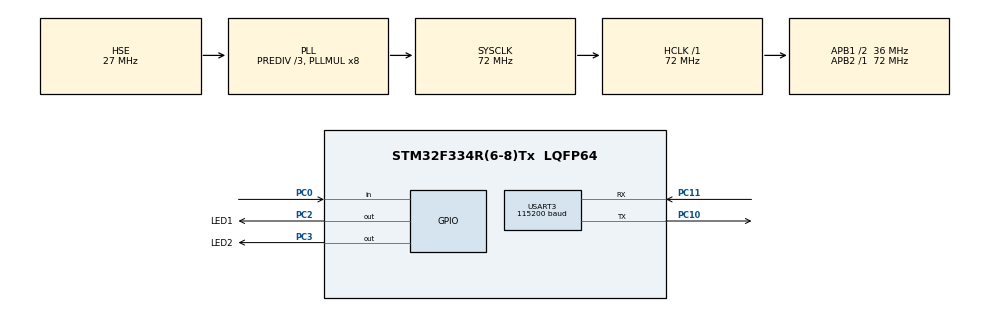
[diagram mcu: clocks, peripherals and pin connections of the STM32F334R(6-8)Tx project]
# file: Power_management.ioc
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Mcu.Family=STM32F3
Mcu.Name=STM32F334R(6-8)Tx
Mcu.Package=LQFP64
NVIC.PriorityGroup=NVIC_PRIORITYGROUP_4
NVIC.USART3_IRQn=true\:0\:0\:false\:false\:true\:true\:true\:true
PA13.Mode=Serial_Wire
PA13.Signal=SYS_JTMS-SWDIO
PA14.Mode=Serial_Wire
PA14.Signal=SYS_JTCK-SWCLK
PC0.Signal=GPIO_Input
PC10.Mode=Asynchronous
PC10.Signal=USART3_TX
PC11.Mode=Asynchronous
PC11.Signal=USART3_RX
PC2.GPIO_Label=LED1
PC2.Signal=GPIO_Output
PC3.GPIO_Label=LED2
PC3.Signal=GPIO_Output
PF0\ /\ OSC_IN.Mode=HSE-External-Clock-Source
PF0\ /\ OSC_IN.Signal=RCC_OSC_IN
ProjectManager.HeapSize=0x200
ProjectManager.StackSize=0x400
ProjectManager.TargetToolchain=MDK-ARM V5.32
RCC.AHBFreq_Value=72000000
RCC.APB1CLKDivider=RCC_HCLK_DIV2
RCC.APB1Freq_Value=36000000
RCC.APB1TimFreq_Value=72000000
RCC.APB2Freq_Value=72000000
RCC.APB2TimFreq_Value=72000000
RCC.CortexFreq_Value=72000000
RCC.HCLKFreq_Value=72000000
RCC.HSE_VALUE=27000000
RCC.HSI_VALUE=8000000
RCC.LSE_VALUE=32768
RCC.PLLMUL=RCC_PLL_MUL8
RCC.PLLSourceVirtual=RCC_PLLSOURCE_HSE
RCC.RCC_PLLsource_Clock_Source_FROM_HSE=RCC_HSE_PREDIV_DIV3
RCC.SYSCLKFreq_VALUE=72000000
RCC.SYSCLKSourceVirtual=RCC_SYSCLKSOURCE_PLLCLK
USART3.BaudRate=115200
USART3.VirtualMode-Asynchronous=VM_ASYNC
board=custom

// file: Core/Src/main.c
/* USER CODE BEGIN Header */
/**
  ******************************************************************************
  * @file           : main.c
  * @brief          : Main program body
  ******************************************************************************
  * @attention
  *
  * Copyright (c) 2025 STMicroelectronics.
  * All rights reserved.
  *
  * This software is licensed under terms that can be found in the LICENSE file
  * in the root directory of this software component.
  * If no LICENSE file comes with this software, it is provided AS-IS.
  *
  ******************************************************************************
  */
/* USER CODE END Header */
#include "main.h"
#include "usart.h"
#include "gpio.h"

/* USER CODE BEGIN Includes */
#include "buckboost.h"
#include "OLED_SSD1306.h"
#include "Reg_i2c.h"
#include "ADC_Reg.h"
#include "TIM_Reg.h"
#include "stdio.h"
#include "string.h"
/* USER CODE END Includes */

void SystemClock_Config(void);

/* USER CODE BEGIN 0 */
extern uint16_t adc1_value[4];
extern uint8_t rx_byte;
extern float temp_vol,temp_curr;
extern uint16_t adctest;
/* USER CODE END 0 */

int main(void)
{

  /* MCU Configuration--------------------------------------------------------*/

  /* Reset of all peripherals, Initializes the Flash interface and the Systick. */
  HAL_Init();

  /* Configure the system clock */
  SystemClock_Config();

  /* Initialize all configured peripherals */
  MX_GPIO_Init();
  MX_USART3_UART_Init();
  /* USER CODE BEGIN 2 */
	HAL_UART_Receive_IT(&huart3, &rx_byte, 1);

	ADC1_DMA_Init();
	ADC2_DMA_Init();

	dr_pwm_init(100);
	buckboost_init();
	I2C1_Init();
	//temp ++;
	HAL_Delay(50);
//	HAL_ADCEx_Calibration_Start(&hadc1,ADC_SINGLE_ENDED);
//	HAL_ADCEx_Calibration_Start(&hadc2,ADC_SINGLE_ENDED);
//
//	HAL_ADC_Start_DMA(&hadc1,(uint32_t*)adc1_in_buff,4);
//	HAL_ADC_Start_DMA(&hadc2,(uint32_t*)adc2_in_buff,1);

	//HAL_HRTIM_WaveformOutputStart(&hhrtim1, HRTIM_OUTPUT_TB1 | HRTIM_OUTPUT_TB2 | HRTIM_OUTPUT_TA1 | HRTIM_OUTPUT_TA2);
    //HAL_HRTIM_WaveformCounterStart(&hhrtim1, HRTIM_TIMERID_TIMER_B | HRTIM_TIMERID_TIMER_A | HRTIM_TIMERID_MASTER);

	/*start the master ,a and b timer*/
	HRTIM1->sMasterRegs.MCR   |= 0x01UL << 16; //HRTIM_MASTER
  HRTIM1->sMasterRegs.MCR   |= 0x01UL << 17; //HRTIM_TIMR_a
  HRTIM1->sMasterRegs.MCR   |= 0x01UL << 18; //HRTIM_TIMR_b

	/*enable the timer output on pins*/
	HRTIM1->sCommonRegs.OENR  |= 0x01UL << 0;
  HRTIM1->sCommonRegs.OENR  |= 0x01UL << 1;
	HRTIM1->sCommonRegs.OENR  |= 0x01UL << 2;
  HRTIM1->sCommonRegs.OENR  |= 0x01UL << 3;

	HAL_Delay(50);
	/*this is to adapte the voltage in output ,as the soft start*/
	Init_Referee_Vol = (adc1_value[0] / 4095.0f * 3.285f * PSM.Votage_ratio) - 0.7f;
	Init_Cap_Vol = (adc1_value[1] / 4095.0f * 3.285f * PSM.Votage_ratio) * 0.99f;
	Init_PWM_CMP = (Init_Cap_Vol / Init_Referee_Vol) * DP_PWM_PER;
	pwm_update(Init_PWM_CMP);
	HAL_Delay(10);

//	HAL_TIM_Base_Start_IT(&htim6);
//	HAL_TIM_Base_Start_IT(&htim7);
		TIM6_Init();
		HAL_Delay(10);
		TIM7_Init();

	 //I2C_Config();
   OLED_Init();

	OLED_Display_Start();
  /* USER CODE END 2 */

  /* Infinite loop */
  while (1)
  {

    /* USER CODE BEGIN 3 */
		//OLED_Display_Refresh();
		//Send_Float_String(Referee_Vol,Cap_Curr);
		OLED_Display_Refresh();
		//adctest =  readADC2();
		//oled_display();
		//HAL_Delay(500);
		 LED();
		 //printf("hhhhh");
//		adc_value = readADC();
		//HAL_Delay(20);

  }
  /* USER CODE END 3 */
}

void SystemClock_Config(void)
{
  RCC_OscInitTypeDef RCC_OscInitStruct = {0};
  RCC_ClkInitTypeDef RCC_ClkInitStruct = {0};

  /** Initializes the RCC Oscillators according to the specified parameters
  * in the RCC_OscInitTypeDef structure.
  */
  RCC_OscInitStruct.OscillatorType = RCC_OSCILLATORTYPE_HSE;
  RCC_OscInitStruct.HSEState = RCC_HSE_BYPASS;
  RCC_OscInitStruct.HSEPredivValue = RCC_HSE_PREDIV_DIV3;
  RCC_OscInitStruct.HSIState = RCC_HSI_ON;
  RCC_OscInitStruct.PLL.PLLState = RCC_PLL_ON;
  RCC_OscInitStruct.PLL.PLLSource = RCC_PLLSOURCE_HSE;
  RCC_OscInitStruct.PLL.PLLMUL = RCC_PLL_MUL8;
  if (HAL_RCC_OscConfig(&RCC_OscInitStruct) != HAL_OK)
  {
    Error_Handler();
  }

  /** Initializes the CPU, AHB and APB buses clocks
  */
  RCC_ClkInitStruct.ClockType = RCC_CLOCKTYPE_HCLK|RCC_CLOCKTYPE_SYSCLK
                              |RCC_CLOCKTYPE_PCLK1|RCC_CLOCKTYPE_PCLK2;
  RCC_ClkInitStruct.SYSCLKSource = RCC_SYSCLKSOURCE_PLLCLK;
  RCC_ClkInitStruct.AHBCLKDivider = RCC_SYSCLK_DIV1;
  RCC_ClkInitStruct.APB1CLKDivider = RCC_HCLK_DIV2;
  RCC_ClkInitStruct.APB2CLKDivider = RCC_HCLK_DIV1;

  if (HAL_RCC_ClockConfig(&RCC_ClkInitStruct, FLASH_LATENCY_2) != HAL_OK)
  {
    Error_Handler();
  }
}

void Error_Handler(void)
{
  __disable_irq();
  while (1)
  {
  }
}
